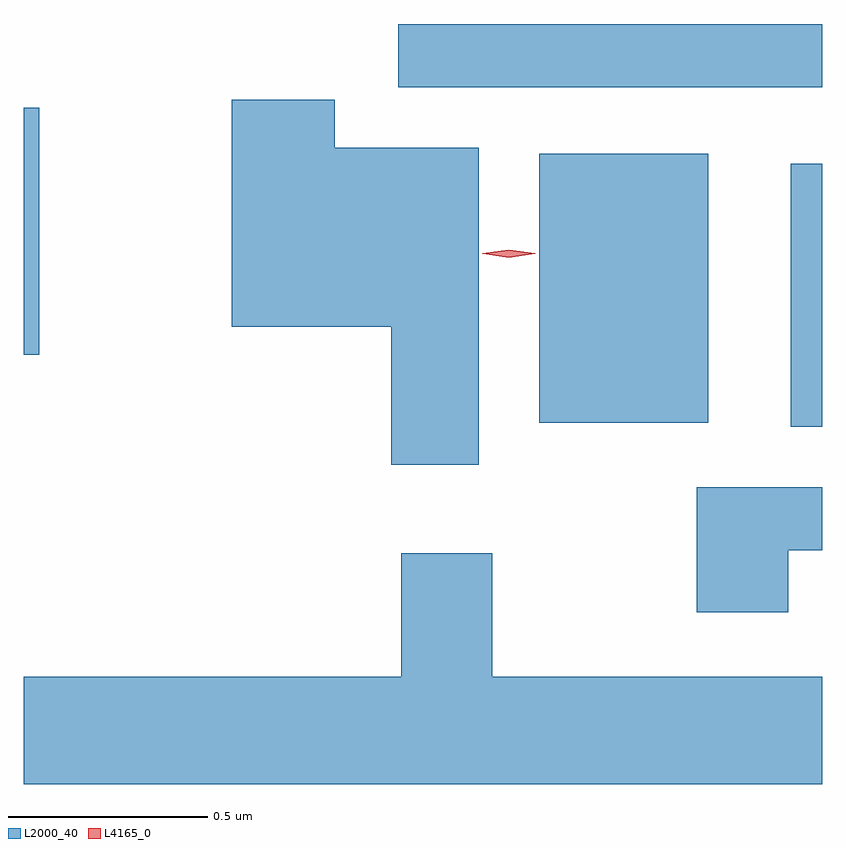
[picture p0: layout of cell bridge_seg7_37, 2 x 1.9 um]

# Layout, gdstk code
import gdstk
lib = gdstk.Library(unit=1e-6, precision=1e-09)
def R(c, l, rs):  # rectangles x0, y0, x1, y1
    for r in rs: c.add(gdstk.rectangle(r[:2], r[2:], *l))
def P(c, l, *ps):  # polygons
    for p in ps: c.add(gdstk.Polygon(p, *l))
L2000_40 = (2000, 40)
L4165_0 = (4165, 0)

bridge_seg7_37 = lib.new_cell('bridge_seg7_37')
R(bridge_seg7_37, L2000_40, [(1704.066,1795.131,1704.145,1795.789), (1703.436,1795.141,1703.859,1795.814), (1702.145,1795.311,1702.184,1795.929), (1703.083,1795.981,1704.145,1796.139)])
P(bridge_seg7_37, L2000_40, [(1703.284,1795.829),(1702.924,1795.829),(1702.924,1795.949),(1702.666,1795.949),(1702.666,1795.381),(1703.066,1795.381),(1703.066,1795.036),(1703.284,1795.036)],
  [(1704.059,1794.821),(1704.145,1794.821),(1704.145,1794.979),(1703.831,1794.979),(1703.831,1794.666),(1704.059,1794.666)],
  [(1704.145,1794.504),(1703.319,1794.504),(1703.319,1794.814),(1703.091,1794.814),(1703.091,1794.504),(1702.145,1794.504),(1702.145,1794.236),(1704.145,1794.236)])
P(bridge_seg7_37, L4165_0, [(1703.36,1795.554),(1703.294,1795.564),(1703.293,1795.564),(1703.294,1795.565),(1703.36,1795.574),(1703.426,1795.565),(1703.426,1795.564),(1703.426,1795.564)])

lib.write_gds('bridge_seg7_37.gds')
